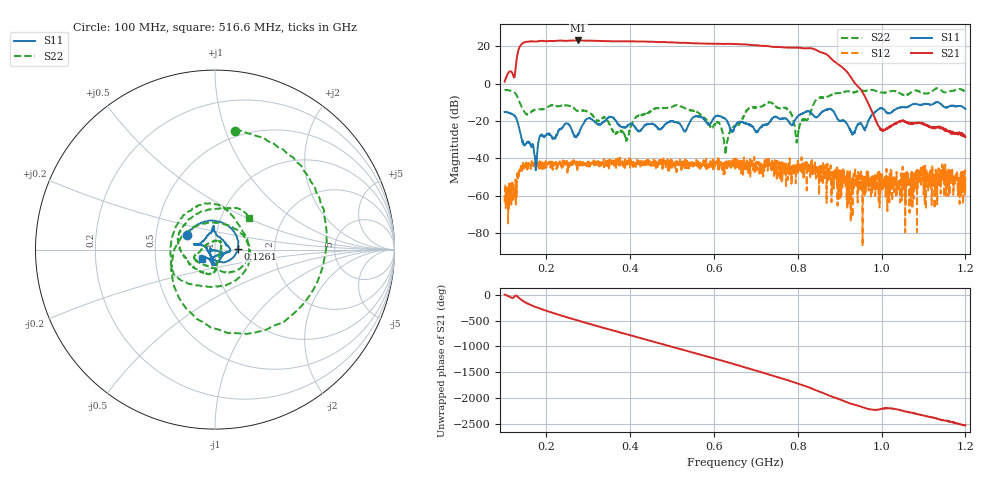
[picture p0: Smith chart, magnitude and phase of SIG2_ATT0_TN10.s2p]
# Hz S DB R 50
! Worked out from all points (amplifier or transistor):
!   1601 points, 100 MHz to 1.2 GHz, reference 50 ohm
!   highest |S21| = 23.1 dB at 276 MHz (marker M1)
!   |S21| within 3 dB of that: 137.1 MHz to 726.3 MHz (589.1 MHz wide, 136 % of centre)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
!   unconditionally stable (mu >= 1): start of sweep to end of sweep
!   at 282.9 MHz: K = 4.53, MAG = 23.2 dB, |S12| = -42.4 dB
!   at 650 MHz: K = 8.11, MAG = 21.2 dB, |S12| = -45.4 dB
!   at 1.2 GHz: K = 2425.65, MAG = -26.2 dB, |S12| = -49.8 dB
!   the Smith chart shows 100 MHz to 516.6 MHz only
!   S11 on the Smith chart (normalised r, x): 100 MHz: 0.73, +0.12; 126.1 MHz: 1.29, +0.01; 516.6 MHz: 0.86, -0.09
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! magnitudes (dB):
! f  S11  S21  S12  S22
! 100 MHz  -15.2  1.1  -63.4  -3.5
! 126.1 MHz  -18.0  8.0  -51.2  -5.4
! 139.9 MHz  -28.8  20.9  -43.9  -12.1
! 173.6 MHz  -45.2  22.5  -43.5  -14.0
! 188.7 MHz  -27.2  22.8  -43.6  -13.6
! 276 MHz  -27.1  23.1  -43.6  -14.6
! 283.6 MHz  -23.4  23.0  -42.4  -14.4
! 391.5 MHz  -23.0  22.6  -41.1  -29.2
! 467.1 MHz  -24.2  22.2  -41.9  -13.1
! 516.6 MHz  -21.1  21.8  -42.2  -11.7
! 610.8 MHz  -17.3  21.2  -46.0  -20.6
! 628 MHz  -19.0  21.2  -42.0  -34.5
! 650 MHz  -23.0  21.1  -45.4  -22.7
! 733.2 MHz  -20.4  19.8  -43.3  -10.1
! 778.6 MHz  -20.3  19.3  -48.7  -14.2
! 798.5 MHz  -17.9  19.2  -44.3  -30.4
! 833.6 MHz  -16.1  18.8  -40.9  -13.1
! 878.9 MHz  -13.8  13.5  -48.8  -6.2
! 931.9 MHz  -26.7  1.6  -48.6  -4.5
! 995.8 MHz  -13.2  -24.0  -48.3  -4.6
! 1.017 GHz  -15.9  -23.5  -63.7  -4.3
! 1.2 GHz  -13.6  -28.5  -49.8  -4.2
